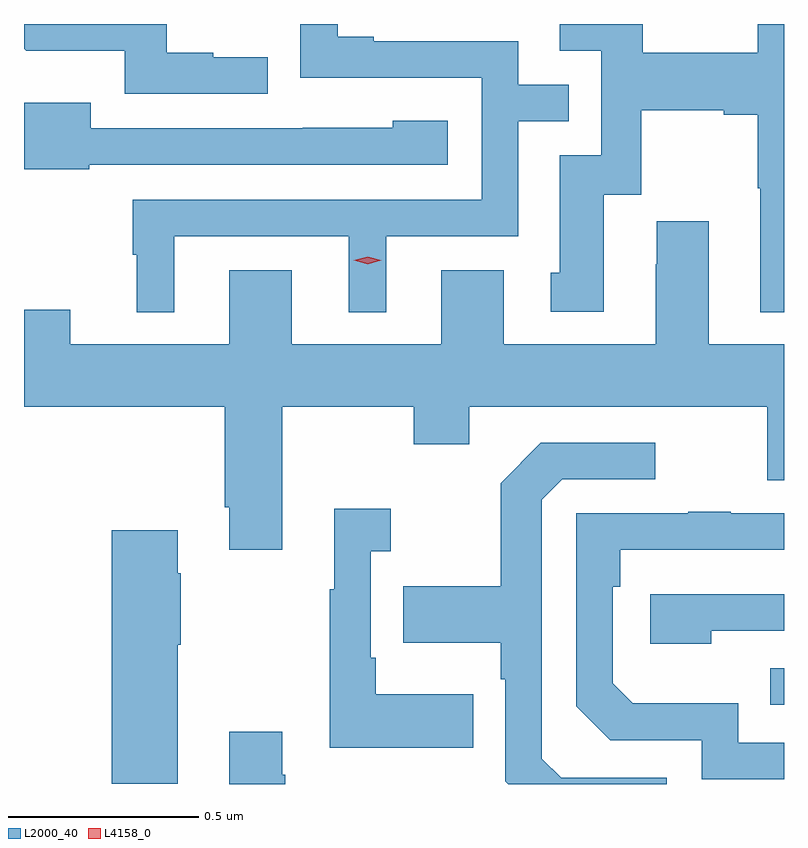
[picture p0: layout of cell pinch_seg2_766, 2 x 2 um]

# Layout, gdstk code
import gdstk
lib = gdstk.Library(unit=1e-6, precision=1e-09)
def R(c, l, rs):  # rectangles x0, y0, x1, y1
    for r in rs: c.add(gdstk.rectangle(r[:2], r[2:], *l))
def P(c, l, *ps):  # polygons
    for p in ps: c.add(gdstk.Polygon(p, *l))
L2000_40 = (2000, 40)
L4158_0 = (4158, 0)

pinch_seg2_766 = lib.new_cell('pinch_seg2_766')
R(pinch_seg2_766, L2000_40, [(868.819,662.835,868.855,662.931)])
P(pinch_seg2_766, L2000_40, [(868.855,664.627),(868.786,664.627),(868.786,664.552),(868.483,664.552),(868.483,664.627),(868.265,664.627),(868.265,664.557),(868.374,664.557),(868.374,664.281),(868.265,664.281),(868.265,663.972),(868.241,663.972),(868.241,663.87),(868.381,663.87),(868.381,664.178),(868.479,664.178),(868.479,664.4),(868.697,664.4),(868.697,664.388),(868.786,664.388),(868.786,664.195),(868.793,664.195),(868.793,663.869),(868.855,663.869)],
  [(867.497,664.54),(867.353,664.54),(867.353,664.552),(867.23,664.552),(867.23,664.627),(866.855,664.627),(866.855,664.562),(866.861,664.556),(867.12,664.556),(867.12,664.443),(867.497,664.443)],
  [(867.25,664.068),(867.71,664.068),(867.71,663.869),(867.808,663.869),(867.808,664.068),(868.155,664.068),(868.155,664.371),(868.289,664.371),(868.289,664.467),(868.155,664.467),(868.155,664.581),(867.775,664.581),(867.775,664.594),(867.681,664.594),(867.681,664.627),(867.582,664.627),(867.582,664.485),(868.059,664.485),(868.059,664.164),(867.141,664.164),(867.141,664.02),(867.152,664.02),(867.152,663.869),(867.25,663.869)],
  [(867.027,664.257),(867.97,664.257),(867.97,664.372),(867.825,664.372),(867.825,664.354),(867.589,664.354),(867.589,664.353),(867.031,664.353),(867.031,664.42),(866.855,664.42),(866.855,664.245),(867.027,664.245)],
  [(868.811,663.426),(868.855,663.426),(868.855,663.784),(868.657,663.784),(868.657,664.108),(868.52,664.108),(868.52,663.995),(868.517,663.995),(868.517,663.784),(868.117,663.784),(868.117,663.979),(867.953,663.979),(867.953,663.784),(867.559,663.784),(867.559,663.979),(867.395,663.979),(867.395,663.784),(866.977,663.784),(866.977,663.875),(866.855,663.875),(866.855,663.62),(867.383,663.62),(867.383,663.355),(867.395,663.355),(867.395,663.243),(867.535,663.243),(867.535,663.62),(867.88,663.62),(867.88,663.521),(868.027,663.521),(868.027,663.62),(868.811,663.62)],
  [(868.546,662.643),(868.269,662.643),(868.218,662.694),(868.218,663.375),(868.272,663.429),(868.516,663.429),(868.516,663.525),(868.215,663.525),(868.11,663.419),(868.11,663.147),(867.853,663.147),(867.853,662.999),(868.11,662.999),(868.11,662.903),(868.122,662.903),(868.122,662.634),(868.129,662.627),(868.546,662.627)],
  [(868.037,662.863),(867.781,662.863),(867.781,662.959),(867.768,662.959),(867.768,663.239),(867.82,663.239),(867.82,663.352),(867.671,663.352),(867.671,663.139),(867.66,663.139),(867.66,662.723),(868.037,662.723)],
  [(868.855,662.736),(868.734,662.736),(868.734,662.839),(868.457,662.839),(868.404,662.892),(868.404,663.146),(868.424,663.146),(868.424,663.243),(868.855,663.243),(868.855,663.339),(868.715,663.339),(868.715,663.344),(868.603,663.344),(868.603,663.339),(868.308,663.339),(868.308,662.832),(868.398,662.742),(868.638,662.742),(868.638,662.64),(868.855,662.64)],
  [(867.259,662.993),(867.267,662.993),(867.267,663.182),(867.259,663.182),(867.259,663.295),(867.086,663.295),(867.086,662.628),(867.259,662.628)],
  [(868.664,663.03),(868.855,663.03),(868.855,663.126),(868.503,663.126),(868.503,662.996),(868.664,662.996)],
  [(867.543,662.651),(867.535,662.651),(867.535,662.764),(867.395,662.764),(867.395,662.627),(867.543,662.627)])
P(pinch_seg2_766, L4158_0, [(867.759,663.995),(867.723,664.005),(867.723,664.005),(867.723,664.005),(867.759,664.015),(867.795,664.005),(867.795,664.005),(867.795,664.005)])

lib.write_gds('pinch_seg2_766.gds')
